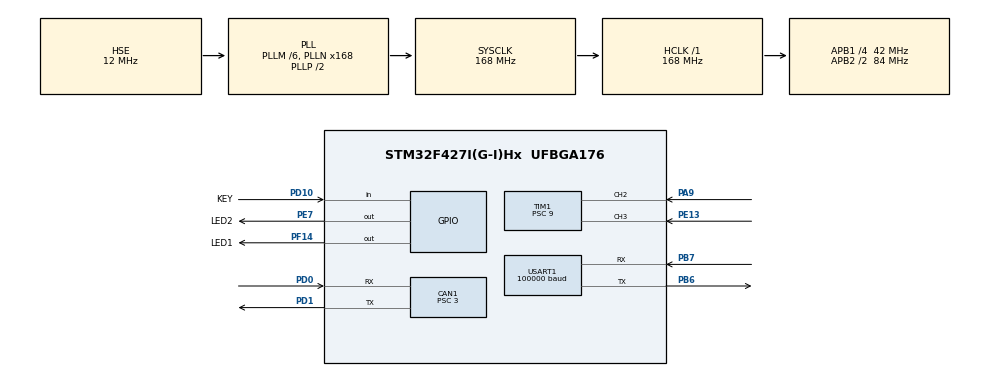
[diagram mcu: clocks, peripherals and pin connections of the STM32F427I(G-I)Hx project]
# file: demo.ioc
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CAN1.ABOM=ENABLE
CAN1.BS1=CAN_BS1_9TQ
CAN1.BS2=CAN_BS2_4TQ
CAN1.CalculateTimeBit=1000
CAN1.CalculateTimeQuantum=71.42857142857143
CAN1.Prescaler=3
CAN1.SJW=CAN_SJW_1TQ
Dma.Request0=USART1_RX
Dma.Request1=TIM1_CH1/CH2/CH3
Dma.TIM1_CH1/CH2/CH3.1.Direction=DMA_PERIPH_TO_MEMORY
Dma.TIM1_CH1/CH2/CH3.1.FIFOMode=DMA_FIFOMODE_DISABLE
Dma.TIM1_CH1/CH2/CH3.1.Instance=DMA2_Stream6
Dma.TIM1_CH1/CH2/CH3.1.MemDataAlignment=DMA_MDATAALIGN_HALFWORD
Dma.TIM1_CH1/CH2/CH3.1.MemInc=DMA_MINC_ENABLE
Dma.TIM1_CH1/CH2/CH3.1.Mode=DMA_CIRCULAR
Dma.TIM1_CH1/CH2/CH3.1.PeriphDataAlignment=DMA_PDATAALIGN_HALFWORD
Dma.TIM1_CH1/CH2/CH3.1.PeriphInc=DMA_PINC_DISABLE
Dma.TIM1_CH1/CH2/CH3.1.Priority=DMA_PRIORITY_LOW
Dma.USART1_RX.0.Direction=DMA_PERIPH_TO_MEMORY
Dma.USART1_RX.0.FIFOMode=DMA_FIFOMODE_DISABLE
Dma.USART1_RX.0.Instance=DMA2_Stream2
Dma.USART1_RX.0.MemDataAlignment=DMA_MDATAALIGN_BYTE
Dma.USART1_RX.0.MemInc=DMA_MINC_ENABLE
Dma.USART1_RX.0.Mode=DMA_NORMAL
Dma.USART1_RX.0.PeriphDataAlignment=DMA_PDATAALIGN_BYTE
Dma.USART1_RX.0.PeriphInc=DMA_PINC_DISABLE
Dma.USART1_RX.0.Priority=DMA_PRIORITY_LOW
Mcu.Family=STM32F4
Mcu.Name=STM32F427I(G-I)Hx
Mcu.Package=UFBGA176
NVIC.CAN1_RX0_IRQn=true\:0\:0\:false\:false\:true\:true
NVIC.CAN1_TX_IRQn=true\:0\:0\:false\:false\:true\:true
NVIC.DMA2_Stream2_IRQn=true\:0\:0\:false\:false\:true\:true
NVIC.DMA2_Stream6_IRQn=true\:0\:0\:false\:false\:true\:false
NVIC.PriorityGroup=NVIC_PRIORITYGROUP_4
NVIC.TIM6_DAC_IRQn=true\:0\:0\:false\:false\:true\:true
NVIC.TimeBase=TIM6_DAC_IRQn
NVIC.TimeBaseIP=TIM6
NVIC.USART1_IRQn=true\:0\:0\:false\:false\:true\:true
PA13.Mode=Serial_Wire
PA13.Signal=SYS_JTMS-SWDIO
PA14.Mode=Serial_Wire
PA14.Signal=SYS_JTCK-SWCLK
PA9.Signal=S_TIM1_CH2
PB6.Mode=Asynchronous
PB6.Signal=USART1_TX
PB7.Mode=Asynchronous
PB7.Signal=USART1_RX
PD0.Mode=Master
PD0.Signal=CAN1_RX
PD1.Mode=Master
PD1.Signal=CAN1_TX
PD10.GPIO_Label=KEY
PD10.Signal=GPIO_Input
PE13.Signal=S_TIM1_CH3
PE7.GPIO_Label=LED2
PE7.Signal=GPIO_Output
PF14.GPIO_Label=LED1
PF14.Signal=GPIO_Output
PH0/OSC_IN.Mode=HSE-External-Oscillator
PH0/OSC_IN.Signal=RCC_OSC_IN
PH1/OSC_OUT.Mode=HSE-External-Oscillator
PH1/OSC_OUT.Signal=RCC_OSC_OUT
ProjectManager.HeapSize=0x200
ProjectManager.StackSize=0x400
ProjectManager.TargetToolchain=MDK-ARM V5
RCC.48MHZClocksFreq_Value=84000000
RCC.AHBFreq_Value=168000000
RCC.APB1CLKDivider=RCC_HCLK_DIV4
RCC.APB1Freq_Value=42000000
RCC.APB1TimFreq_Value=84000000
RCC.APB2CLKDivider=RCC_HCLK_DIV2
RCC.APB2Freq_Value=84000000
RCC.APB2TimFreq_Value=168000000
RCC.CortexFreq_Value=168000000
RCC.HCLKFreq_Value=168000000
RCC.HSE_VALUE=12000000
RCC.HSI_VALUE=16000000
RCC.LSE_VALUE=32768
RCC.PLLM=6
RCC.PLLN=168
RCC.PLLSource=RCC_PLLSOURCE_HSE
RCC.PLLSourceVirtual=RCC_PLLSOURCE_HSE
RCC.PLLSourceVirtualString=RCC_PLLSOURCE_HSE
RCC.SYSCLKFreq_VALUE=168000000
RCC.SYSCLKSource=RCC_SYSCLKSOURCE_PLLCLK
RCC.VCOOutputFreq_Value=336000000
SH.S_TIM1_CH2.0=TIM1_CH2,Input_Capture2_from_TI2
SH.S_TIM1_CH2.1=TIM1_CH2,Input_Capture1_from_TI2
SH.S_TIM1_CH3.0=TIM1_CH3,Input_Capture3_from_TI3
SH.S_TIM1_CH3.1=TIM1_CH3,Input_Capture4_from_TI3
TIM1.Channel-Input_Capture1_from_TI2=TIM_CHANNEL_1
TIM1.Channel-Input_Capture2_from_TI2=TIM_CHANNEL_2
TIM1.Channel-Input_Capture3_from_TI3=TIM_CHANNEL_3
TIM1.Channel-Input_Capture4_from_TI3=TIM_CHANNEL_4
TIM1.ICPolarity_CH2=TIM_INPUTCHANNELPOLARITY_BOTHEDGE
TIM1.Period=9999
TIM1.Prescaler=9
USART1.BaudRate=100000
USART1.Parity=PARITY_EVEN
USART1.VirtualMode=VM_ASYNC
VP_SYS_VS_tim6.Mode=TIM6
board=demo

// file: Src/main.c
/**
  ******************************************************************************
  * File Name          : main.c
  * Description        : Main program body
  ******************************************************************************
  ** This notice applies to any and all portions of this file
  * that are not between comment pairs USER CODE BEGIN and
  * USER CODE END. Other portions of this file, whether
  * inserted by the user or by software development tools
  * are owned by their respective copyright owners.
  *
  * COPYRIGHT(c) 2018 STMicroelectronics
  *
  * Redistribution and use in source and binary forms, with or without modification,
  * are permitted provided that the following conditions are met:
  *   1. Redistributions of source code must retain the above copyright notice,
  *      this list of conditions and the following disclaimer.
  *   2. Redistributions in binary form must reproduce the above copyright notice,
  *      this list of conditions and the following disclaimer in the documentation
  *      and/or other materials provided with the distribution.
  *   3. Neither the name of STMicroelectronics nor the names of its contributors
  *      may be used to endorse or promote products derived from this software
  *      without specific prior written permission.
  *
  * THIS SOFTWARE IS PROVIDED BY THE COPYRIGHT HOLDERS AND CONTRIBUTORS "AS IS"
  * AND ANY EXPRESS OR IMPLIED WARRANTIES, INCLUDING, BUT NOT LIMITED TO, THE
  * IMPLIED WARRANTIES OF MERCHANTABILITY AND FITNESS FOR A PARTICULAR PURPOSE ARE
  * DISCLAIMED. IN NO EVENT SHALL THE COPYRIGHT HOLDER OR CONTRIBUTORS BE LIABLE
  * FOR ANY DIRECT, INDIRECT, INCIDENTAL, SPECIAL, EXEMPLARY, OR CONSEQUENTIAL
  * DAMAGES (INCLUDING, BUT NOT LIMITED TO, PROCUREMENT OF SUBSTITUTE GOODS OR
  * SERVICES; LOSS OF USE, DATA, OR PROFITS; OR BUSINESS INTERRUPTION) HOWEVER
  * CAUSED AND ON ANY THEORY OF LIABILITY, WHETHER IN CONTRACT, STRICT LIABILITY,
  * OR TORT (INCLUDING NEGLIGENCE OR OTHERWISE) ARISING IN ANY WAY OUT OF THE USE
  * OF THIS SOFTWARE, EVEN IF ADVISED OF THE POSSIBILITY OF SUCH DAMAGE.
  *
  ******************************************************************************
  */

#include "main.h"
#include "stm32f4xx_hal.h"
#include "can.h"
#include "dma.h"
#include "tim.h"
#include "usart.h"
#include "gpio.h"

/* USER CODE BEGIN Includes */
#include "bsp_can.h"
#include "pid.h"
#include "Remote_Control.h"

#include "usart6.h"
#include "control.h"
/* USER CODE END Includes */

/* USER CODE BEGIN PV */
/* Private variables ---------------------------------------------------------*/
PID_TypeDef motor_pid[4];
int32_t set_spd = 0;
static int key_sta = 0;
int speed_step_sign = +1;

uint16_t TIM_COUNT[2];
#define SpeedStep 500

/* USER CODE END PV */

void SystemClock_Config(void);

/* USER CODE BEGIN PFP */
/* Private function prototypes -----------------------------------------------*/

/* USER CODE END PFP */

/* USER CODE BEGIN 0 */
void Key_Scan(){

		if(HAL_GPIO_ReadPin(KEY_GPIO_Port,KEY_Pin) == GPIO_PIN_RESET){

			if(key_sta == 0){

				key_sta = 1;

				set_spd += SpeedStep*speed_step_sign;

				if(set_spd>8000)
				{
					speed_step_sign = -1;
				}

				if(set_spd<=0){

					set_spd = 0;
					speed_step_sign = 1;

				}

			}

		}else{

			key_sta = 0;

		}

}

/* USER CODE END 0 */

int main(void)
{

  /* MCU Configuration----------------------------------------------------------*/

  /* Reset of all peripherals, Initializes the Flash interface and the Systick. */
  HAL_Init();

  /* Configure the system clock */
  SystemClock_Config();

  /* Initialize all configured peripherals */
  MX_GPIO_Init();
  MX_DMA_Init();
  MX_CAN1_Init();
  MX_USART1_UART_Init();
  MX_TIM1_Init();
	uart6_init(84,115200);

  /* USER CODE BEGIN 2 */
  my_can_filter_init_recv_all(&hcan1);     //配置CAN过滤器
  HAL_CAN_Receive_IT(&hcan1, CAN_FIFO0);   //启动CAN接收中断
  HAL_UART_Receive_IT_IDLE(&huart1,UART_Buffer,100);   //启动串口接收

  HAL_TIM_IC_Start_DMA(&htim1,TIM_CHANNEL_2,(uint32_t *)TIM_COUNT,2);

	/*< 初始化PID参数 >*/
  for(int i=0; i<4; i++)
  {

    pid_init(&motor_pid[i]);
    motor_pid[i].f_param_init(&motor_pid[i],PID_Speed,16384,5000,10,0,8000,0,1.5,0.1,0);

  }
  /* USER CODE END 2 */

  /* Infinite loop */
  /* USER CODE BEGIN WHILE */
  while (1)
  {
//		run_func(1,2,2000,100,3000/10);
//		run_b(-1000,10);
//		run_b(-1000,10);
//		run_b(1000,10);
//		run_b(1000,10);
		usart6_Send_string((u8*)"DJ small motor control\r\n");
//		run_func_a(2,2,1000,100,100);
//		run_func_a(1,2,1000,100,100);

		while(1){
			run(0);
		}

  /* USER CODE END WHILE */

  }

}

/** System Clock Configuration
*/
void SystemClock_Config(void)
{

  RCC_OscInitTypeDef RCC_OscInitStruct;
  RCC_ClkInitTypeDef RCC_ClkInitStruct;

    /**Configure the main internal regulator output voltage
    */
  __HAL_RCC_PWR_CLK_ENABLE();

  __HAL_PWR_VOLTAGESCALING_CONFIG(PWR_REGULATOR_VOLTAGE_SCALE1);

    /**Initializes the CPU, AHB and APB busses clocks
    */
  RCC_OscInitStruct.OscillatorType = RCC_OSCILLATORTYPE_HSE;
  RCC_OscInitStruct.HSEState = RCC_HSE_ON;
  RCC_OscInitStruct.PLL.PLLState = RCC_PLL_ON;
  RCC_OscInitStruct.PLL.PLLSource = RCC_PLLSOURCE_HSE;
  RCC_OscInitStruct.PLL.PLLM = 6;
  RCC_OscInitStruct.PLL.PLLN = 168;
  RCC_OscInitStruct.PLL.PLLP = RCC_PLLP_DIV2;
  RCC_OscInitStruct.PLL.PLLQ = 4;
  if (HAL_RCC_OscConfig(&RCC_OscInitStruct) != HAL_OK)
  {
    _Error_Handler(__FILE__, __LINE__);
  }

    /**Initializes the CPU, AHB and APB busses clocks
    */
  RCC_ClkInitStruct.ClockType = RCC_CLOCKTYPE_HCLK|RCC_CLOCKTYPE_SYSCLK
                              |RCC_CLOCKTYPE_PCLK1|RCC_CLOCKTYPE_PCLK2;
  RCC_ClkInitStruct.SYSCLKSource = RCC_SYSCLKSOURCE_PLLCLK;
  RCC_ClkInitStruct.AHBCLKDivider = RCC_SYSCLK_DIV1;
  RCC_ClkInitStruct.APB1CLKDivider = RCC_HCLK_DIV4;
  RCC_ClkInitStruct.APB2CLKDivider = RCC_HCLK_DIV2;

  if (HAL_RCC_ClockConfig(&RCC_ClkInitStruct, FLASH_LATENCY_5) != HAL_OK)
  {
    _Error_Handler(__FILE__, __LINE__);
  }

    /**Configure the Systick interrupt time
    */
  HAL_SYSTICK_Config(HAL_RCC_GetHCLKFreq()/1000);

    /**Configure the Systick
    */
  HAL_SYSTICK_CLKSourceConfig(SYSTICK_CLKSOURCE_HCLK);

  /* SysTick_IRQn interrupt configuration */
  HAL_NVIC_SetPriority(SysTick_IRQn, 0, 0);
}

void HAL_TIM_PeriodElapsedCallback(TIM_HandleTypeDef *htim)
{
  if (htim->Instance == TIM6) {
    HAL_IncTick();
  }
}

void _Error_Handler(char * file, int line)
{
  while(1)
  {
  }
}

/************************ (C) COPYRIGHT STMicroelectronics *****END OF FILE****/
